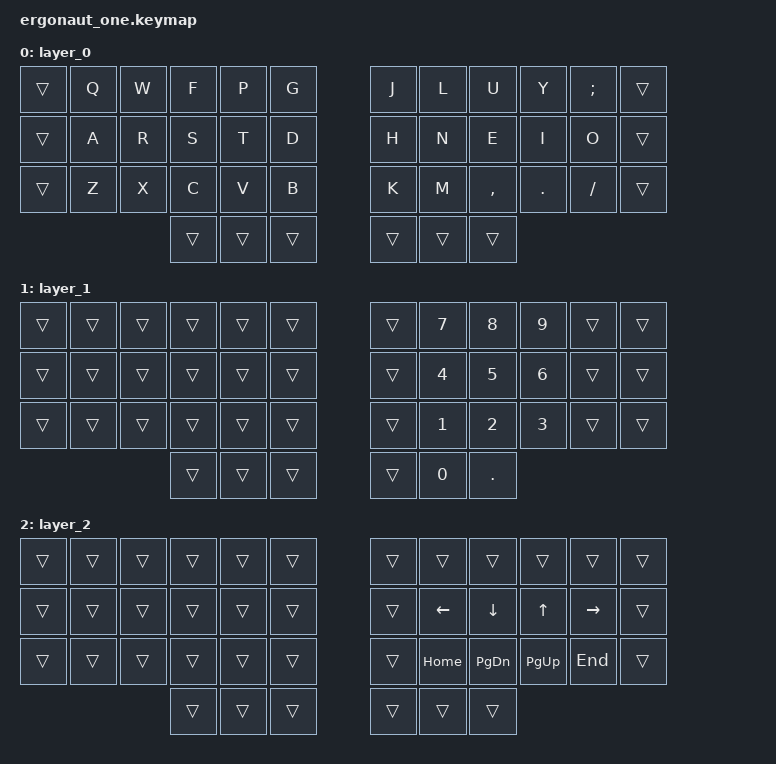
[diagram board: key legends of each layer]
#include <behaviors.dtsi>
#include <dt-bindings/zmk/bt.h>
#include <dt-bindings/zmk/keys.h>

#define DEF 0
#define LWR 1
#define RSE 2
#define ADJ 3

&lt { quick-tap-ms = <200>; };

&mt {
    quick-tap-ms = <200>;
    flavor = "balanced";
    require-prior-idle-ms = <150>;
};

/ {
    conditional_layers { compatible = "zmk,conditional-layers"; };

    combos {
        compatible = "zmk,combos";

        bootloader {
            bindings = <&bootloader>;
            key-positions = <0 5 24 38>;
        };

        clear_bt {
            bindings = <&bt BT_CLR_ALL>;
            key-positions = <12 5 38>;
        };
    };

    keymap {
        compatible = "zmk,keymap";

        layer_0 {
            bindings = <
&trans  &kp Q  &kp W  &kp F   &kp P   &kp G   &kp J   &kp L   &kp U      &kp Y    &kp SEMI  &trans
&trans  &kp A  &kp R  &kp S   &kp T   &kp D   &kp H   &kp N   &kp E      &kp I    &kp O     &trans
&trans  &kp Z  &kp X  &kp C   &kp V   &kp B   &kp K   &kp M   &kp COMMA  &kp DOT  &kp FSLH  &trans
                      &trans  &trans  &trans  &trans  &trans  &trans
            >;
        };

        layer_1 {
            bindings = <
&trans  &trans  &trans  &trans  &trans  &trans  &trans  &kp N7  &kp N8   &kp N9  &trans  &trans
&trans  &trans  &trans  &trans  &trans  &trans  &trans  &kp N4  &kp N5   &kp N6  &trans  &trans
&trans  &trans  &trans  &trans  &trans  &trans  &trans  &kp N1  &kp N2   &kp N3  &trans  &trans
                        &trans  &trans  &trans  &trans  &kp N0  &kp DOT
            >;
        };

        layer_2 {
            bindings = <
&trans  &trans  &trans  &trans  &trans  &trans  &trans  &trans    &trans         &trans       &trans     &trans
&trans  &trans  &trans  &trans  &trans  &trans  &trans  &kp LEFT  &kp DOWN       &kp UP       &kp RIGHT  &trans
&trans  &trans  &trans  &trans  &trans  &trans  &trans  &kp HOME  &kp PAGE_DOWN  &kp PAGE_UP  &kp END    &trans
                        &trans  &trans  &trans  &trans  &trans    &trans
            >;
        };
    };
};
